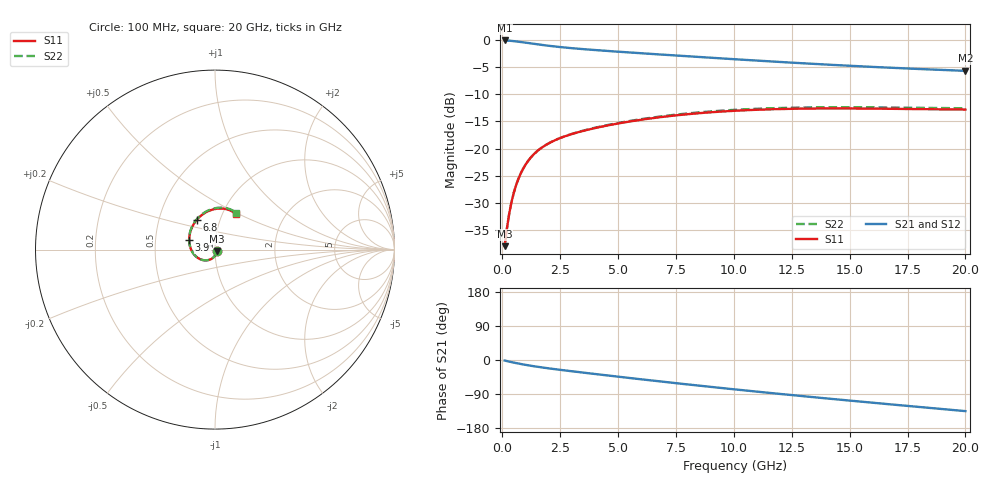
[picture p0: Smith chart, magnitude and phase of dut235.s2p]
! Touchstone file exported from HFSS 2023.1.0
!  File:  D:/Users/fzz/RDL_TSV/temp_RDL_TSV_235_1778758741.aedt
!  Generated:  7:49:10 %x4E0B%x5348  5%x6708 14, 2026
!  Design:  RDL_TSV
!  Project:  temp_RDL_TSV_235_1778758741
!  Setup:  Setup1
!  Solution:  Sweep
! Variables:
!  dtsv = 20.91um
!  hbump = 3um
!  htsv = 57.73um
!  ldown = 203.2um
!  lrdl = 223.95um
!  p = 40
!  p1 = 48.49um
!  rhole = 10um
!  subl = 1505.4um
!  t = 450um
!  tdown = 3.44um
!  trdl = 2.29um
!  viad = 10um
!  wdown = 24.81um
!  wrdl = 19.96um
!  xbump = 18um
# GHz S MA R 50.000000
! Terminal data exported
! Port[1] = TM1_1_T1
! Port[2] = TM1_4_T1
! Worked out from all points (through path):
!   200 points, 100 MHz to 20 GHz, reference 50 ohm
!   highest |S21| = -0.09 dB at 100 MHz (marker M1); lowest = -5.7 dB at 20 GHz (marker M2)
!   group delay of S21, straight-line fit = 17.8 ps
!   lowest |S11| = -38.0 dB at 100 MHz (marker M3), VSWR 1.03, Z = 51 - j0.849 ohm
!   |S11| at or under -10 dB: start of sweep to end of sweep
!   |S22| runs from -38.0 to -12.4 dB; largest |S21 - S12| = 7.4e-14
!   S11 on the Smith chart (normalised r, x): 100 MHz: 1.02, -0.02; 3.9 GHz: 0.75, +0.08; 6.8 GHz: 0.77, +0.27; 20 GHz: 1.15, +0.48
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0.1  0.01264 -41.3  0.9892 -1.4  0.9892 -1.4  0.01264 -41.3
! Gamma 0 0 0 0
! Port Impedance 50 0 50 0
0.2  0.01842 -64.7  0.9872 -2.9  0.9872 -2.9  0.01841 -64.7
0.3  0.02526 -78.6  0.9841 -4.3  0.9841 -4.3  0.02525 -78.7
0.4  0.03238 -88.5  0.98 -5.6  0.98 -5.6  0.03236 -88.5
0.5  0.03946 -96.3  0.9751 -6.9  0.9751 -6.9  0.03944 -96.4
0.6  0.04635 -103.0  0.9696 -8.2  0.9696 -8.2  0.04634 -103.1
0.8  0.05929 -114.3  0.9576 -10.6  0.9576 -10.6  0.05928 -114.4
1.1  0.07623 -128.3  0.9381 -13.9  0.9381 -13.9  0.07625 -128.5
1.5  0.09439 -143.6  0.9124 -17.7  0.9124 -17.7  0.09447 -143.8
2  0.1116 -159.1  0.8839 -22.0  0.8839 -22.0  0.1118 -159.4
2.6  0.1273 -174.4  0.8558 -26.7  0.8558 -26.7  0.1277 -174.7
3.5  0.1456 167.2  0.8228 -33.3  0.8228 -33.3  0.1465 166.8
3.9  0.1527 160.2  0.8103 -36.2  0.8103 -36.2  0.1538 159.8
5.3  0.1747 139.4  0.7718 -46.1  0.7718 -46.1  0.1766 139.0
6.8  0.1943 121.7  0.7352 -56.4  0.7352 -56.4  0.1972 121.3
8.4  0.2109 106.5  0.6989 -67.1  0.6989 -67.1  0.2146 106.1
10.1  0.2232 93.5  0.6631 -77.9  0.6631 -77.9  0.2278 93.2
11.7  0.2303 83.6  0.6323 -87.8  0.6323 -87.8  0.2354 83.4
13.4  0.2337 75.4  0.6029 -97.9  0.6029 -97.9  0.2394 75.2
15  0.2341 69.3  0.5784 -107.1  0.5784 -107.1  0.2401 69.1
16.7  0.2325 64.6  0.5556 -116.7  0.5556 -116.7  0.2388 64.4
20  0.2288 59.6  0.5196 -134.9  0.5196 -134.9  0.2351 59.4
